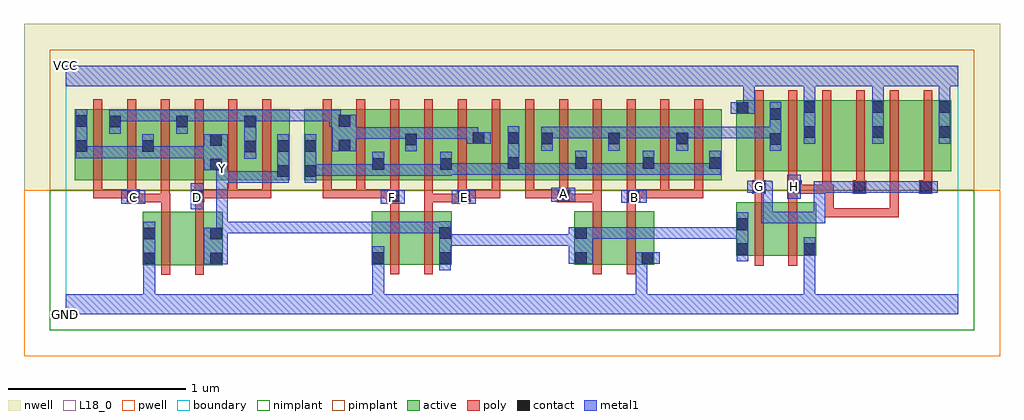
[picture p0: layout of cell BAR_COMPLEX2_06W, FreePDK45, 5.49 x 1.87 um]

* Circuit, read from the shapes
.subckt BAR_COMPLEX2_06W A B C D E F G GND H VCC Y
M1 n1 C GND VSUBS nfet w=0.3u l=0.05u
M2 Y D n1 VSUBS nfet w=0.3u l=0.05u
M3 n2 F GND VSUBS nfet w=0.3u l=0.05u
M4 Y E n2 VSUBS nfet w=0.3u l=0.05u
M5 n3 A Y VSUBS nfet w=0.3u l=0.05u
M6 GND B n3 VSUBS nfet w=0.3u l=0.05u
M7 n4 G Y VSUBS nfet w=0.3u l=0.05u
M8 GND H n4 VSUBS nfet w=0.3u l=0.05u
M9 n5 C Y n6 pfet w=0.4u l=0.05u m=3
M10 Y D n5 n6 pfet w=0.4u l=0.05u m=3
M11 n5 F n7 n6 pfet w=0.4u l=0.05u m=3
M12 n7 E n5 n6 pfet w=0.4u l=0.05u m=3
M13 n8 A n7 n6 pfet w=0.4u l=0.05u m=3
M14 n7 B n8 n6 pfet w=0.4u l=0.05u m=3
M15 n8 G VCC n6 pfet w=0.4u l=0.05u
M16 VCC H n8 n6 pfet w=0.4u l=0.05u
M17 n9 H VCC n6 pfet w=0.4u l=0.05u
M18 VCC G n9 n6 pfet w=0.4u l=0.05u
M19 n10 H VCC n6 pfet w=0.4u l=0.05u
M20 VCC G n10 n6 pfet w=0.4u l=0.05u
.ends

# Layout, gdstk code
import gdstk
lib = gdstk.Library(unit=1e-6, precision=1e-09)
def R(c, l, rs):  # rectangles x0, y0, x1, y1
    for r in rs: c.add(gdstk.rectangle(r[:2], r[2:], *l))
def A(c, l, x, y, w, h, nx, ny, dx, dy):  # array of equal rectangles
    R(c, l, [(x+i*dx, y+j*dy, x+i*dx+w, y+j*dy+h) for i in range(nx) for j in range(ny)])
active = (1, 0)
pwell = (2, 0)
nwell = (3, 0)
nimplant = (4, 0)
pimplant = (5, 0)
poly = (9, 0)
contact = (10, 0)
metal1 = (11, 0)
L18_0 = (18, 0)
boundary = (235, 0)

bar_complex2_06w = lib.new_cell('BAR_COMPLEX2_06W')
A(bar_complex2_06w, active, 1.34, 0.755, 0.075, 0.315, 3, 1, 0.38, 0)
R(bar_complex2_06w, active, [(0.432,0.277,0.507,0.577), (0.432,0.277,0.657,0.577), (0.657,0.277,0.882,0.577), (0.807,0.277,0.882,0.577), (1.72,0.28,1.795,0.58), (1.72,0.28,1.945,0.58), (1.945,0.28,2.17,0.58), (2.095,0.28,2.17,0.58), (2.86,0.28,2.935,0.58), (2.86,0.28,3.085,0.58), (3.085,0.28,3.31,0.58), (3.235,0.28,3.31,0.58), (3.77,0.33,3.845,0.63), (3.77,0.33,3.995,0.63), (3.995,0.33,4.22,0.63), (4.145,0.33,4.22,0.63), (0.05,0.755,0.125,1.155), (0.05,0.755,0.315,1.155), (0.24,0.755,0.5,1.155), (0.425,0.755,0.69,1.155), (0.425,0.755,0.5,1.07), (0.615,0.755,0.882,1.155), (0.807,0.755,0.882,1.07), (0.807,0.755,1.075,1.155), (1,0.755,1.26,1.155), (1.185,0.755,1.26,1.07), (1.34,0.755,1.605,1.155), (1.53,0.755,1.795,1.155), (1.72,0.755,1.98,1.155), (1.905,0.755,2.175,1.155), (2.1,0.755,2.36,1.155), (2.285,0.755,2.555,1.155), (2.48,0.755,2.555,1.155), (2.48,0.755,2.745,1.155), (2.67,0.755,2.935,1.155), (2.86,0.755,3.12,1.155), (2.86,0.755,2.935,1.07), (3.045,0.755,3.315,1.155), (3.24,0.755,3.505,1.155), (3.24,0.755,3.315,1.07), (3.43,0.755,3.69,1.155), (3.615,0.755,3.69,1.047), (3.77,0.805,4.03,1.205), (3.955,0.805,4.22,1.205), (4.145,0.805,4.375,1.205), (4.375,0.805,4.605,1.205), (4.53,0.805,4.755,1.205), (4.755,0.805,4.98,1.205), (4.905,0.805,4.98,1.205), (0.24,0.907,0.315,1.155), (0.615,0.907,0.69,1.155), (1,0.907,1.075,1.155), (1.53,0.907,1.605,1.155), (1.905,0.907,1.98,1.155), (2.285,0.907,2.36,1.155), (2.67,0.907,2.745,1.155), (3.045,0.907,3.12,1.155), (3.43,0.907,3.505,1.155), (3.77,0.907,3.845,1.205), (3.955,0.907,4.03,1.2), (4.145,0.907,4.22,1.205), (4.53,0.907,4.605,1.205)])
R(bar_complex2_06w, pwell, [(-0.235,-0.235,5.255,0.7)])
R(bar_complex2_06w, nwell, [(-0.235,0.7,5.255,1.635)])
R(bar_complex2_06w, nimplant, [(-0.09,-0.09,5.11,0.7)])
R(bar_complex2_06w, pimplant, [(-0.09,0.7,5.11,1.49)])
A(bar_complex2_06w, poly, 0.725, 0.655, 0.05, 0.095, 3, 1, 0.19, 0)
A(bar_complex2_06w, poly, 1.445, 0.655, 0.05, 0.095, 3, 1, 0.19, 0)
A(bar_complex2_06w, poly, 2.205, 0.655, 0.05, 0.095, 4, 1, 0.19, 0)
A(bar_complex2_06w, poly, 3.155, 0.655, 0.05, 0.095, 3, 1, 0.19, 0)
A(bar_complex2_06w, poly, 0.155, 0.7, 0.05, 0.51, 6, 1, 0.19, 0)
A(bar_complex2_06w, poly, 1.445, 0.7, 0.05, 0.51, 12, 1, 0.19, 0)
A(bar_complex2_06w, poly, 4.065, 0.705, 0.05, 0.095, 3, 1, 0.38, 0)
A(bar_complex2_06w, poly, 3.875, 0.75, 0.05, 0.51, 6, 1, 0.19, 0)
R(bar_complex2_06w, poly, [(0.537,0.222,0.587,0.632), (0.727,0.222,0.777,0.632), (1.825,0.225,1.875,0.635), (2.015,0.225,2.065,0.635), (2.965,0.225,3.015,0.635), (3.155,0.225,3.205,0.635), (3.875,0.275,3.925,0.685), (4.065,0.275,4.115,0.685), (4.27,0.547,4.32,0.597), (4.27,0.547,4.32,0.597), (4.27,0.547,4.32,0.597), (4.27,0.547,4.32,0.597), (4.27,0.547,4.32,0.597), (4.27,0.547,4.452,0.597), (4.27,0.547,4.32,0.73), (4.402,0.547,4.452,0.597), (4.402,0.547,4.452,0.597), (4.402,0.547,4.452,0.597), (4.402,0.547,4.685,0.597), (4.635,0.547,4.685,0.8), (4.635,0.547,4.685,0.597), (4.635,0.547,4.685,0.597), (4.635,0.547,4.685,0.597), (4.635,0.547,4.685,0.597), (4.635,0.547,4.685,0.597), (0.537,0.582,0.587,0.68), (0.727,0.582,0.777,0.68), (1.825,0.585,1.875,0.68), (2.015,0.585,2.065,0.68), (2.965,0.585,3.015,0.68), (3.155,0.585,3.205,0.68), (0.342,0.63,0.417,0.705), (0.367,0.63,0.417,0.68), (0.367,0.63,0.417,0.68), (0.367,0.63,0.585,0.68), (0.535,0.63,0.585,0.75), (0.535,0.63,0.587,0.68), (0.705,0.63,0.78,0.705), (1.802,0.63,1.877,0.705), (2.015,0.63,2.065,0.68), (2.015,0.63,2.065,0.68), (2.015,0.63,2.065,0.68), (2.015,0.63,2.065,0.75), (2.015,0.63,2.252,0.68), (2.202,0.63,2.277,0.705), (2.762,0.63,2.837,0.705), (2.787,0.63,3.015,0.68), (2.965,0.63,3.015,0.68), (2.965,0.63,3.015,0.68), (2.965,0.63,3.015,0.68), (2.965,0.63,3.015,0.75), (3.155,0.63,3.23,0.705), (3.875,0.635,3.925,0.73), (4.065,0.635,4.115,0.73), (0.155,0.655,0.205,0.75), (0.155,0.655,0.205,0.705), (0.155,0.655,0.205,0.705), (0.155,0.655,0.205,0.705), (0.155,0.655,0.392,0.705), (0.345,0.655,0.395,0.75), (0.73,0.655,0.78,0.705), (0.73,0.655,0.78,0.705), (0.73,0.655,0.965,0.705), (0.915,0.655,0.965,0.705), (0.915,0.655,0.965,0.705), (0.915,0.655,0.965,0.705), (0.915,0.655,1.155,0.705), (1.105,0.655,1.155,0.705), (1.445,0.655,1.495,0.705), (1.445,0.655,1.495,0.705), (1.445,0.655,1.495,0.705), (1.445,0.655,1.685,0.705), (1.635,0.655,1.685,0.705), (1.635,0.655,1.685,0.705), (1.635,0.655,1.685,0.705), (1.635,0.655,1.852,0.705), (2.227,0.655,2.277,0.705), (2.227,0.655,2.277,0.705), (2.227,0.655,2.445,0.705), (2.395,0.655,2.445,0.705), (2.585,0.655,2.635,0.705), (2.585,0.655,2.812,0.705), (2.762,0.655,2.812,0.705), (2.762,0.655,2.812,0.705), (3.18,0.655,3.23,0.705), (3.18,0.655,3.23,0.705), (3.18,0.655,3.395,0.705), (3.345,0.655,3.395,0.705), (3.345,0.655,3.585,0.705), (3.535,0.655,3.585,0.705), (3.535,0.655,3.585,0.705), (3.535,0.655,3.585,0.705), (3.862,0.68,3.937,0.755), (4.065,0.68,4.14,0.755), (4.09,0.68,4.14,0.73), (4.09,0.68,4.14,0.73), (4.09,0.68,4.305,0.73), (4.255,0.68,4.305,0.8), (4.255,0.68,4.32,0.73), (4.427,0.68,4.502,0.755), (4.8,0.68,4.875,0.755), (3.875,0.705,3.925,0.8)])
A(bar_complex2_06w, contact, 2.485, 0.82, 0.065, 0.065, 3, 1, 0.38, 0)
R(bar_complex2_06w, contact, [(0.437,0.282,0.502,0.347), (0.812,0.282,0.877,0.347), (1.725,0.285,1.79,0.35), (2.1,0.285,2.165,0.35), (2.865,0.285,2.93,0.35), (3.24,0.285,3.305,0.35), (3.775,0.335,3.84,0.4), (4.15,0.335,4.215,0.4), (0.437,0.422,0.502,0.487), (0.812,0.422,0.877,0.487), (2.1,0.425,2.165,0.49), (2.865,0.425,2.93,0.49), (3.775,0.475,3.84,0.54), (0.347,0.635,0.412,0.7), (0.71,0.635,0.775,0.7), (1.807,0.635,1.872,0.7), (2.207,0.635,2.272,0.7), (2.767,0.635,2.832,0.7), (3.16,0.635,3.225,0.7), (3.867,0.685,3.932,0.75), (4.07,0.685,4.135,0.75), (4.432,0.685,4.497,0.75), (4.805,0.685,4.87,0.75), (1.19,0.775,1.255,0.84), (1.345,0.775,1.41,0.84), (0.812,0.81,0.877,0.875), (1.725,0.815,1.79,0.88), (2.105,0.815,2.17,0.88), (3.62,0.82,3.685,0.885), (1.005,0.912,1.07,0.977), (0.055,0.915,0.12,0.98), (0.43,0.915,0.495,0.98), (1.19,0.915,1.255,0.98), (1.345,0.915,1.41,0.98), (1.535,0.917,1.6,0.982), (0.812,0.95,0.877,1.015), (1.91,0.952,1.975,1.017), (3.96,0.955,4.025,1.02), (2.675,0.957,2.74,1.022), (3.05,0.957,3.115,1.022), (3.435,0.957,3.5,1.022), (2.29,0.96,2.355,1.025), (2.485,0.96,2.55,1.025), (4.15,0.995,4.215,1.06), (4.535,0.995,4.6,1.06), (4.91,0.995,4.975,1.06), (0.245,1.052,0.31,1.117), (0.62,1.052,0.685,1.117), (1.005,1.052,1.07,1.117), (0.055,1.055,0.12,1.12), (1.535,1.057,1.6,1.122), (3.96,1.095,4.025,1.16), (3.775,1.13,3.84,1.195), (4.15,1.135,4.215,1.2), (4.535,1.135,4.6,1.2), (4.91,1.135,4.975,1.2)])
R(bar_complex2_06w, metal1, [(0,0,5.02,0.115), (0.437,0.05,0.502,0.115), (0.437,0.05,0.502,0.115), (0.437,0.05,0.502,0.115), (0.437,0.05,0.502,0.115), (0.437,0.05,0.502,0.312), (1.725,0.05,1.79,0.315), (3.205,0.05,3.27,0.35), (4.15,0.05,4.215,0.365), (0.437,0.247,0.502,0.522), (1.725,0.25,1.79,0.315), (1.725,0.25,1.79,0.315), (1.725,0.25,1.79,0.315), (1.725,0.25,1.79,0.315), (1.725,0.25,1.79,0.385), (2.1,0.25,2.165,0.525), (0.777,0.282,0.912,0.487), (2.83,0.285,2.965,0.49), (3.205,0.285,3.27,0.35), (3.205,0.285,3.27,0.35), (3.205,0.285,3.27,0.35), (3.205,0.285,3.27,0.35), (3.205,0.285,3.34,0.35), (3.775,0.3,3.84,0.575), (4.15,0.3,4.215,0.365), (4.15,0.3,4.215,0.365), (4.15,0.3,4.215,0.365), (4.15,0.3,4.215,0.365), (4.15,0.3,4.215,0.435), (2.1,0.387,2.165,0.452), (2.1,0.387,2.165,0.452), (2.1,0.387,2.327,0.452), (2.262,0.387,2.327,0.452), (2.262,0.387,2.465,0.452), (2.4,0.387,2.465,0.452), (2.4,0.387,2.465,0.452), (2.4,0.387,2.465,0.452), (2.4,0.387,2.602,0.452), (2.537,0.387,2.602,0.452), (2.537,0.387,2.757,0.452), (2.692,0.387,2.757,0.452), (2.692,0.387,2.757,0.452), (2.692,0.387,2.757,0.452), (2.692,0.387,2.895,0.452), (0.847,0.422,0.912,0.487), (0.847,0.422,0.912,0.522), (0.847,0.422,0.912,0.817), (2.9,0.425,2.965,0.49), (2.9,0.425,2.965,0.49), (2.9,0.425,3.102,0.49), (3.037,0.425,3.102,0.49), (3.037,0.425,3.102,0.49), (3.037,0.425,3.102,0.49), (3.037,0.425,3.252,0.49), (3.187,0.425,3.252,0.49), (3.187,0.425,3.447,0.49), (3.382,0.425,3.447,0.49), (3.382,0.425,3.447,0.49), (3.382,0.425,3.447,0.49), (3.382,0.425,3.667,0.49), (3.602,0.425,3.667,0.49), (3.602,0.425,3.667,0.49), (3.602,0.425,3.667,0.49), (3.602,0.425,3.84,0.49), (0.847,0.457,1.117,0.522), (1.052,0.457,1.117,0.522), (1.052,0.457,1.117,0.522), (1.052,0.457,1.117,0.522), (1.052,0.457,1.255,0.522), (1.19,0.457,1.255,0.522), (1.19,0.457,1.255,0.522), (1.19,0.457,1.255,0.522), (1.19,0.457,1.547,0.522), (1.482,0.457,1.547,0.522), (1.482,0.457,1.547,0.522), (1.482,0.457,1.547,0.522), (1.482,0.457,1.685,0.522), (1.62,0.457,1.685,0.522), (1.62,0.457,1.837,0.522), (1.772,0.457,1.837,0.522), (1.772,0.457,1.837,0.522), (1.772,0.457,1.837,0.522), (1.772,0.457,2.027,0.522), (1.962,0.457,2.027,0.522), (1.962,0.457,2.027,0.522), (1.962,0.457,2.027,0.522), (1.962,0.457,2.165,0.522), (3.912,0.512,3.977,0.577), (3.912,0.512,3.977,0.75), (3.912,0.512,4.105,0.577), (4.04,0.512,4.105,0.577), (4.04,0.512,4.272,0.577), (4.207,0.512,4.272,0.577), (4.207,0.512,4.272,0.75), (0.702,0.592,0.775,0.737), (0.312,0.622,0.447,0.7), (1.772,0.622,1.907,0.7), (2.172,0.622,2.307,0.7), (3.125,0.627,3.267,0.7), (2.732,0.635,2.867,0.712), (4.057,0.65,4.135,0.787), (3.832,0.685,3.967,0.752), (3.902,0.685,3.977,0.75), (3.912,0.685,3.977,0.75), (4.207,0.685,4.272,0.75), (4.207,0.685,4.272,0.75), (4.207,0.685,4.272,0.75), (4.207,0.685,4.462,0.75), (4.397,0.685,4.462,0.75), (4.397,0.685,4.462,0.75), (4.397,0.685,4.532,0.75), (4.467,0.685,4.67,0.75), (4.605,0.685,4.67,0.75), (4.605,0.685,4.67,0.75), (4.605,0.685,4.67,0.75), (4.605,0.685,4.835,0.75), (4.77,0.685,4.835,0.75), (4.77,0.685,4.835,0.75), (4.77,0.685,4.905,0.75), (0.847,0.74,0.912,0.875), (0.847,0.74,1.117,0.805), (1.052,0.74,1.117,0.805), (1.052,0.74,1.117,0.805), (1.052,0.74,1.117,0.805), (1.052,0.74,1.255,0.805), (1.19,0.74,1.255,1.015), (1.345,0.74,1.41,1.015), (0.847,0.752,0.912,0.887), (1.345,0.78,1.41,0.845), (1.345,0.78,1.41,0.845), (1.345,0.78,1.652,0.845), (1.587,0.78,1.652,0.845), (1.587,0.78,1.685,0.845), (1.62,0.78,1.685,0.845), (1.62,0.78,1.79,0.845), (1.725,0.78,1.79,0.915), (1.725,0.78,1.822,0.845), (1.757,0.78,1.822,0.845), (1.757,0.78,2.027,0.845), (1.962,0.78,2.027,0.845), (1.962,0.78,2.027,0.845), (1.962,0.78,2.027,0.845), (1.962,0.78,2.17,0.845), (2.105,0.78,2.17,0.915), (2.105,0.785,2.17,0.85), (2.105,0.785,2.17,0.85), (2.105,0.785,2.327,0.85), (2.262,0.785,2.327,0.85), (2.262,0.785,2.457,0.85), (2.392,0.785,2.457,0.85), (2.392,0.785,2.55,0.85), (2.485,0.785,2.55,1.06), (2.485,0.785,2.602,0.85), (2.537,0.785,2.602,0.85), (2.537,0.785,2.757,0.85), (2.692,0.785,2.757,0.85), (2.692,0.785,2.757,0.85), (2.692,0.785,2.757,0.85), (2.692,0.785,2.93,0.85), (2.865,0.785,2.93,0.85), (2.865,0.785,2.93,0.85), (2.865,0.785,2.93,0.92), (2.865,0.785,3.115,0.85), (3.05,0.785,3.115,0.85), (3.05,0.785,3.115,0.85), (3.05,0.785,3.115,0.85), (3.05,0.785,3.31,0.85), (3.245,0.785,3.31,0.85), (3.245,0.785,3.31,0.85), (3.245,0.785,3.31,0.92), (3.245,0.785,3.53,0.85), (3.465,0.785,3.53,0.85), (3.465,0.785,3.585,0.85), (3.52,0.785,3.585,0.85), (3.52,0.785,3.685,0.85), (3.62,0.785,3.685,0.92), (0.777,0.81,0.912,1.015), (0.847,0.81,0.912,0.875), (0.847,0.822,0.912,0.887), (1.005,0.877,1.07,1.152), (0.055,0.88,0.12,1.155), (0.055,0.88,0.12,0.945), (0.055,0.88,0.12,0.945), (0.055,0.88,0.31,0.945), (0.245,0.88,0.31,0.945), (0.245,0.88,0.31,0.945), (0.245,0.88,0.31,0.945), (0.245,0.88,0.495,0.945), (0.43,0.88,0.495,1.015), (0.43,0.88,0.585,0.945), (0.52,0.88,0.585,0.945), (0.52,0.88,0.705,0.945), (0.64,0.88,0.705,0.945), (0.64,0.88,0.775,0.945), (0.71,0.88,0.775,0.945), (0.71,0.88,0.842,0.945), (1.5,0.917,1.635,1.122), (1.91,0.917,1.975,1.052), (3.96,0.92,4.025,1.195), (2.675,0.922,2.74,1.057), (3.05,0.922,3.115,1.057), (3.435,0.922,3.5,1.057), (2.255,0.96,2.32,1.025), (2.255,0.96,2.39,1.025), (2.255,0.96,2.32,1.052), (4.15,0.96,4.215,1.235), (4.535,0.96,4.6,1.235), (4.91,0.96,4.975,1.235), (1.57,0.987,1.685,1.052), (1.62,0.987,1.685,1.052), (1.62,0.987,1.837,1.052), (1.772,0.987,1.837,1.052), (1.772,0.987,1.837,1.052), (1.772,0.987,1.837,1.052), (1.772,0.987,1.975,1.052), (1.91,0.987,1.975,1.052), (1.91,0.987,1.975,1.052), (1.91,0.987,2.165,1.052), (2.1,0.987,2.165,1.052), (2.1,0.987,2.32,1.052), (2.675,0.992,2.74,1.057), (2.675,0.992,2.74,1.057), (2.675,0.992,2.965,1.057), (2.9,0.992,2.965,1.057), (2.9,0.992,2.965,1.057), (2.9,0.992,2.965,1.057), (2.9,0.992,3.115,1.057), (3.05,0.992,3.115,1.057), (3.05,0.992,3.115,1.057), (3.05,0.992,3.31,1.057), (3.245,0.992,3.31,1.057), (3.245,0.992,3.31,1.057), (3.245,0.992,3.31,1.057), (3.245,0.992,3.5,1.057), (3.435,0.992,3.667,1.057), (3.602,0.992,3.667,1.057), (3.602,0.992,3.667,1.057), (3.602,0.992,3.667,1.057), (3.602,0.992,3.822,1.057), (3.757,0.992,3.822,1.057), (3.757,0.992,3.822,1.057), (3.757,0.992,3.822,1.057), (3.757,0.992,3.822,1.057), (3.757,0.992,3.822,1.057), (3.757,0.992,4.025,1.057), (0.245,1.017,0.31,1.152), (0.62,1.017,0.685,1.152), (1.482,1.057,1.565,1.122), (1.482,1.057,1.547,1.152), (0.245,1.087,0.447,1.152), (0.382,1.087,0.447,1.152), (0.382,1.087,0.447,1.152), (0.382,1.087,0.447,1.152), (0.382,1.087,0.63,1.152), (0.565,1.087,0.63,1.152), (0.565,1.087,0.685,1.152), (0.62,1.087,0.767,1.152), (0.702,1.087,0.767,1.152), (0.702,1.087,0.932,1.152), (0.867,1.087,0.932,1.152), (0.867,1.087,0.932,1.152), (0.867,1.087,0.932,1.152), (0.867,1.087,1.07,1.152), (1.005,1.087,1.07,1.152), (1.005,1.087,1.07,1.152), (1.005,1.087,1.272,1.152), (1.207,1.087,1.272,1.152), (1.207,1.087,1.272,1.152), (1.207,1.087,1.272,1.152), (1.207,1.087,1.547,1.152), (3.74,1.13,3.875,1.195), (3.81,1.13,3.875,1.35), (4.15,1.17,4.215,1.35), (4.535,1.17,4.6,1.35), (4.91,1.17,4.975,1.35), (0,1.285,5.02,1.4)])
R(bar_complex2_06w, L18_0, [(0,0,5.02,0.115), (0.437,0.05,0.502,0.115), (0.437,0.05,0.502,0.115), (0.437,0.05,0.502,0.115), (0.437,0.05,0.502,0.115), (0.437,0.05,0.502,0.312), (1.725,0.05,1.79,0.315), (3.205,0.05,3.27,0.35), (4.15,0.05,4.215,0.365), (0.437,0.247,0.502,0.522), (1.725,0.25,1.79,0.315), (1.725,0.25,1.79,0.315), (1.725,0.25,1.79,0.315), (1.725,0.25,1.79,0.315), (1.725,0.25,1.79,0.385), (2.1,0.25,2.165,0.525), (0.777,0.282,0.912,0.487), (2.83,0.285,2.965,0.49), (3.205,0.285,3.27,0.35), (3.205,0.285,3.27,0.35), (3.205,0.285,3.27,0.35), (3.205,0.285,3.27,0.35), (3.205,0.285,3.34,0.35), (3.775,0.3,3.84,0.575), (4.15,0.3,4.215,0.365), (4.15,0.3,4.215,0.365), (4.15,0.3,4.215,0.365), (4.15,0.3,4.215,0.365), (4.15,0.3,4.215,0.435), (2.1,0.387,2.165,0.452), (2.1,0.387,2.165,0.452), (2.1,0.387,2.327,0.452), (2.262,0.387,2.327,0.452), (2.262,0.387,2.465,0.452), (2.4,0.387,2.465,0.452), (2.4,0.387,2.465,0.452), (2.4,0.387,2.465,0.452), (2.4,0.387,2.602,0.452), (2.537,0.387,2.602,0.452), (2.537,0.387,2.757,0.452), (2.692,0.387,2.757,0.452), (2.692,0.387,2.757,0.452), (2.692,0.387,2.757,0.452), (2.692,0.387,2.895,0.452), (0.847,0.422,0.912,0.487), (0.847,0.422,0.912,0.817), (0.847,0.422,0.912,0.522), (2.9,0.425,2.965,0.49), (2.9,0.425,2.965,0.49), (2.9,0.425,3.102,0.49), (3.037,0.425,3.102,0.49), (3.037,0.425,3.102,0.49), (3.037,0.425,3.102,0.49), (3.037,0.425,3.252,0.49), (3.187,0.425,3.252,0.49), (3.187,0.425,3.447,0.49), (3.382,0.425,3.447,0.49), (3.382,0.425,3.447,0.49), (3.382,0.425,3.447,0.49), (3.382,0.425,3.667,0.49), (3.602,0.425,3.667,0.49), (3.602,0.425,3.667,0.49), (3.602,0.425,3.667,0.49), (3.602,0.425,3.84,0.49), (0.847,0.457,1.117,0.522), (1.052,0.457,1.117,0.522), (1.052,0.457,1.117,0.522), (1.052,0.457,1.117,0.522), (1.052,0.457,1.255,0.522), (1.19,0.457,1.255,0.522), (1.19,0.457,1.255,0.522), (1.19,0.457,1.255,0.522), (1.19,0.457,1.547,0.522), (1.482,0.457,1.547,0.522), (1.482,0.457,1.547,0.522), (1.482,0.457,1.547,0.522), (1.482,0.457,1.685,0.522), (1.62,0.457,1.685,0.522), (1.62,0.457,1.837,0.522), (1.772,0.457,1.837,0.522), (1.772,0.457,1.837,0.522), (1.772,0.457,1.837,0.522), (1.772,0.457,2.027,0.522), (1.962,0.457,2.027,0.522), (1.962,0.457,2.027,0.522), (1.962,0.457,2.027,0.522), (1.962,0.457,2.165,0.522), (3.912,0.512,3.977,0.577), (3.912,0.512,3.977,0.75), (3.912,0.512,4.105,0.577), (4.04,0.512,4.105,0.577), (4.04,0.512,4.272,0.577), (4.207,0.512,4.272,0.577), (4.207,0.512,4.272,0.75), (0.702,0.592,0.775,0.737), (0.312,0.622,0.447,0.7), (1.772,0.622,1.907,0.7), (2.172,0.622,2.307,0.7), (0.347,0.627,0.412,0.692), (0.707,0.627,0.772,0.692), (1.807,0.627,1.872,0.692), (2.207,0.627,2.272,0.692), (3.125,0.627,3.267,0.7), (3.167,0.627,3.232,0.692), (2.732,0.635,2.867,0.712), (2.767,0.647,2.832,0.712), (4.057,0.65,4.135,0.787), (3.832,0.685,3.967,0.752), (3.902,0.685,3.977,0.75), (3.912,0.685,3.977,0.75), (4.207,0.685,4.272,0.75), (4.207,0.685,4.272,0.75), (4.207,0.685,4.272,0.75), (4.207,0.685,4.462,0.75), (4.397,0.685,4.462,0.75), (4.397,0.685,4.462,0.75), (4.397,0.685,4.532,0.75), (4.467,0.685,4.67,0.75), (4.605,0.685,4.67,0.75), (4.605,0.685,4.67,0.75), (4.605,0.685,4.67,0.75), (4.605,0.685,4.835,0.75), (4.77,0.685,4.835,0.75), (4.77,0.685,4.835,0.75), (4.77,0.685,4.905,0.75), (3.867,0.687,3.932,0.752), (4.067,0.687,4.132,0.752), (0.847,0.74,0.912,0.875), (0.847,0.74,1.117,0.805), (1.052,0.74,1.117,0.805), (1.052,0.74,1.117,0.805), (1.052,0.74,1.117,0.805), (1.052,0.74,1.255,0.805), (1.19,0.74,1.255,1.015), (0.847,0.752,0.912,0.887), (0.847,0.787,0.912,0.852), (0.777,0.81,0.912,1.015), (0.847,0.81,0.912,0.875), (0.847,0.822,0.912,0.887), (0.055,0.88,0.12,1.155), (0.055,0.88,0.12,0.945), (0.055,0.88,0.12,0.945), (0.055,0.88,0.31,0.945), (0.245,0.88,0.31,0.945), (0.245,0.88,0.31,0.945), (0.245,0.88,0.31,0.945), (0.245,0.88,0.495,0.945), (0.43,0.88,0.495,1.015), (0.43,0.88,0.585,0.945), (0.52,0.88,0.585,0.945), (0.52,0.88,0.705,0.945), (0.64,0.88,0.705,0.945), (0.64,0.88,0.775,0.945), (0.71,0.88,0.775,0.945), (0.71,0.88,0.842,0.945), (4.15,0.96,4.215,1.235), (4.535,0.96,4.6,1.235), (4.91,0.96,4.975,1.235), (3.74,1.13,3.875,1.195), (3.81,1.13,3.875,1.35), (4.15,1.17,4.215,1.35), (4.535,1.17,4.6,1.35), (4.91,1.17,4.975,1.35), (0,1.285,5.02,1.4)])
R(bar_complex2_06w, boundary, [(0,0,5.02,1.4)])
bar_complex2_06w.add(gdstk.Label('A', (2.8,0.68), layer=11, texttype=0))
bar_complex2_06w.add(gdstk.Label('B', (3.2,0.66), layer=11, texttype=0))
bar_complex2_06w.add(gdstk.Label('C', (0.38,0.66), layer=11, texttype=0))
bar_complex2_06w.add(gdstk.Label('D', (0.74,0.66), layer=11, texttype=0))
bar_complex2_06w.add(gdstk.Label('E', (2.24,0.66), layer=11, texttype=0))
bar_complex2_06w.add(gdstk.Label('F', (1.84,0.66), layer=11, texttype=0))
bar_complex2_06w.add(gdstk.Label('G', (3.9,0.72), layer=11, texttype=0))
bar_complex2_06w.add(gdstk.Label('H', (4.1,0.72), layer=11, texttype=0))
bar_complex2_06w.add(gdstk.Label('Y', (0.88,0.82), layer=11, texttype=0))
bar_complex2_06w.add(gdstk.Label('VCC', (0,1.4), layer=11, texttype=0))
bar_complex2_06w.add(gdstk.Label('GND', (0,0), layer=11, texttype=0))

lib.write_gds('BAR_COMPLEX2_06W.gds')
